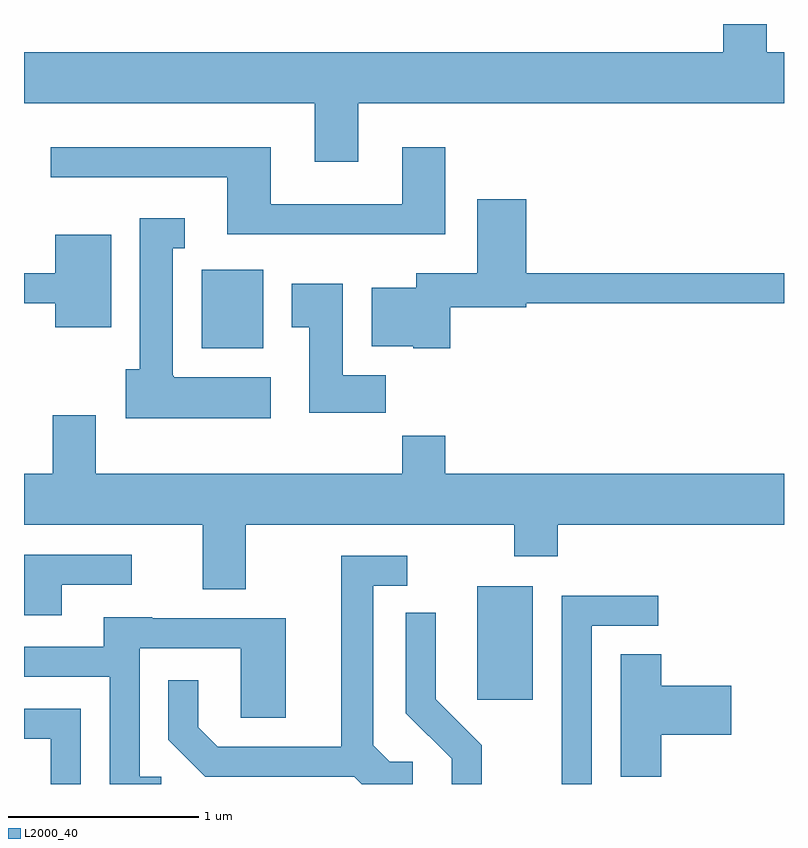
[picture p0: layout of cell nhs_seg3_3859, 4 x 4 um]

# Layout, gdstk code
import gdstk
lib = gdstk.Library(unit=1e-6, precision=1e-09)
def R(c, l, rs):  # rectangles x0, y0, x1, y1
    for r in rs: c.add(gdstk.rectangle(r[:2], r[2:], *l))
def P(c, l, *ps):  # polygons
    for p in ps: c.add(gdstk.Polygon(p, *l))
L2000_40 = (2000, 40)

nhs_seg3_3859 = lib.new_cell('nhs_seg3_3859')
R(nhs_seg3_3859, L2000_40, [(299.996,1218.336,300.289,1218.934), (298.546,1220.186,298.869,1220.599)])
P(nhs_seg3_3859, L2000_40, [(299.369,1221.476),(301.611,1221.476),(301.611,1221.744),(301.519,1221.744),(301.519,1221.892),(301.291,1221.892),(301.291,1221.744),(297.611,1221.744),(297.611,1221.476),(299.141,1221.476),(299.141,1221.166),(299.369,1221.166)],
  [(299.829,1221.244),(299.601,1221.244),(299.601,1220.944),(298.909,1220.944),(298.909,1221.244),(297.753,1221.244),(297.753,1221.086),(298.681,1221.086),(298.681,1220.786),(299.829,1220.786)],
  [(299.854,1220.401),(300.254,1220.401),(300.254,1220.421),(301.611,1220.421),(301.611,1220.579),(300.254,1220.579),(300.254,1220.969),(299.996,1220.969),(299.996,1220.579),(299.676,1220.579),(299.676,1220.504),(299.441,1220.504),(299.441,1220.196),(299.66,1220.196),(299.66,1220.186),(299.854,1220.186)],
  [(298.909,1220.034),(298.4,1220.034),(298.4,1220.04),(298.394,1220.04),(298.394,1220.711),(298.458,1220.711),(298.458,1220.869),(298.221,1220.869),(298.221,1220.074),(298.146,1220.074),(298.146,1219.816),(298.909,1219.816)],
  [(298.069,1220.784),(297.776,1220.784),(297.776,1220.579),(297.611,1220.579),(297.611,1220.421),(297.776,1220.421),(297.776,1220.296),(298.069,1220.296)],
  [(299.514,1220.044),(299.289,1220.044),(299.289,1220.524),(299.021,1220.524),(299.021,1220.296),(299.111,1220.296),(299.111,1219.846),(299.514,1219.846)],
  [(298.779,1219.256),(300.191,1219.256),(300.191,1219.091),(300.419,1219.091),(300.419,1219.256),(301.611,1219.256),(301.611,1219.524),(299.829,1219.524),(299.829,1219.724),(299.601,1219.724),(299.601,1219.524),(297.989,1219.524),(297.989,1219.834),(297.761,1219.834),(297.761,1219.524),(297.611,1219.524),(297.611,1219.256),(298.551,1219.256),(298.551,1218.916),(298.779,1218.916)],
  [(297.809,1218.941),(298.178,1218.941),(298.178,1219.099),(297.611,1219.099),(297.611,1218.781),(297.809,1218.781)],
  [(299.658,1218.009),(299.537,1218.009),(299.449,1218.097),(299.449,1218.936),(299.628,1218.936),(299.628,1219.094),(299.281,1219.094),(299.281,1218.089),(298.632,1218.089),(298.529,1218.192),(298.529,1218.438),(298.371,1218.438),(298.371,1218.124),(298.564,1217.931),(299.349,1217.931),(299.388,1217.892),(299.658,1217.892)],
  [(300.599,1218.726),(300.948,1218.726),(300.948,1218.884),(300.441,1218.884),(300.441,1217.892),(300.599,1217.892)],
  [(300.019,1218.097),(299.779,1218.337),(299.779,1218.793),(299.621,1218.793),(299.621,1218.264),(299.861,1218.024),(299.861,1217.892),(300.019,1217.892)],
  [(298.333,1217.929),(298.219,1217.929),(298.219,1218.606),(298.751,1218.606),(298.751,1218.241),(298.989,1218.241),(298.989,1218.764),(298.285,1218.764),(298.285,1218.769),(298.031,1218.769),(298.031,1218.614),(297.611,1218.614),(297.611,1218.456),(298.061,1218.456),(298.061,1217.892),(298.333,1217.892)],
  [(300.964,1218.151),(301.334,1218.151),(301.334,1218.409),(300.964,1218.409),(300.964,1218.574),(300.751,1218.574),(300.751,1217.931),(300.964,1217.931)],
  [(297.909,1218.289),(297.611,1218.289),(297.611,1218.131),(297.751,1218.131),(297.751,1217.892),(297.909,1217.892)])

lib.write_gds('nhs_seg3_3859.gds')
